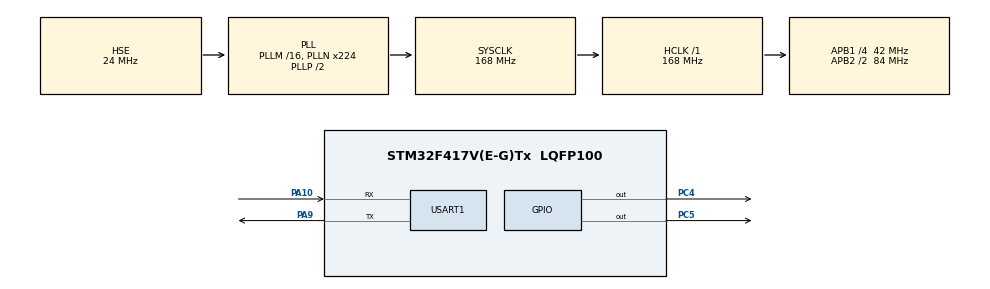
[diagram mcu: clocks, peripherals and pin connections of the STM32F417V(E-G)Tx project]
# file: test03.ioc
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Mcu.Family=STM32F4
Mcu.Name=STM32F417V(E-G)Tx
Mcu.Package=LQFP100
NVIC.PriorityGroup=NVIC_PRIORITYGROUP_2
NVIC.USART1_IRQn=true\:3\:3\:true\:false\:true\:true\:true\:true
PA10.GPIO_ModeDefaultPP=GPIO_MODE_AF_PP
PA10.GPIO_PuPd=GPIO_PULLUP
PA10.GPIO_Speed=GPIO_SPEED_FREQ_HIGH
PA10.Mode=Asynchronous
PA10.Signal=USART1_RX
PA13.Mode=Trace_Synchro_2bits_SW
PA13.Signal=SYS_JTMS-SWDIO
PA14.Mode=Trace_Synchro_2bits_SW
PA14.Signal=SYS_JTCK-SWCLK
PA9.GPIO_ModeDefaultPP=GPIO_MODE_AF_PP
PA9.GPIO_PuPd=GPIO_PULLUP
PA9.GPIO_Speed=GPIO_SPEED_FREQ_HIGH
PA9.Mode=Asynchronous
PA9.Signal=USART1_TX
PC14-OSC32_IN.Mode=LSE-External-Oscillator
PC14-OSC32_IN.Signal=RCC_OSC32_IN
PC15-OSC32_OUT.Mode=LSE-External-Oscillator
PC15-OSC32_OUT.Signal=RCC_OSC32_OUT
PC4.GPIO_ModeDefaultOutputPP=GPIO_MODE_OUTPUT_PP
PC4.GPIO_PuPd=GPIO_PULLUP
PC4.GPIO_Speed=GPIO_SPEED_FREQ_HIGH
PC4.PinState=GPIO_PIN_SET
PC4.Signal=GPIO_Output
PC5.GPIO_ModeDefaultOutputPP=GPIO_MODE_OUTPUT_PP
PC5.GPIO_PuPd=GPIO_PULLUP
PC5.GPIO_Speed=GPIO_SPEED_FREQ_HIGH
PC5.PinState=GPIO_PIN_SET
PC5.Signal=GPIO_Output
PE2.Mode=Trace_Synchro_2bits_SW
PE2.Signal=SYS_TRACECLK
PE3.Mode=Trace_Synchro_2bits_SW
PE3.Signal=SYS_TRACED0
PE4.Mode=Trace_Synchro_2bits_SW
PE4.Signal=SYS_TRACED1
PH0-OSC_IN.Mode=HSE-External-Oscillator
PH0-OSC_IN.Signal=RCC_OSC_IN
PH1-OSC_OUT.Mode=HSE-External-Oscillator
PH1-OSC_OUT.Signal=RCC_OSC_OUT
ProjectManager.HeapSize=0x200
ProjectManager.StackSize=0x400
ProjectManager.TargetToolchain=STM32CubeIDE
RCC.48MHZClocksFreq_Value=84000000
RCC.AHBFreq_Value=168000000
RCC.APB1CLKDivider=RCC_HCLK_DIV4
RCC.APB1Freq_Value=42000000
RCC.APB1TimFreq_Value=84000000
RCC.APB2CLKDivider=RCC_HCLK_DIV2
RCC.APB2Freq_Value=84000000
RCC.APB2TimFreq_Value=168000000
RCC.CortexFreq_Value=168000000
RCC.HCLKFreq_Value=168000000
RCC.HSE_VALUE=24000000
RCC.HSI_VALUE=16000000
RCC.PLLN=224
RCC.PLLSourceVirtual=RCC_PLLSOURCE_HSE
RCC.SYSCLKFreq_VALUE=168000000
RCC.SYSCLKSource=RCC_SYSCLKSOURCE_PLLCLK
RCC.VCOOutputFreq_Value=336000000
USART1.VirtualMode=VM_ASYNC
board=custom

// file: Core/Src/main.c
/* USER CODE BEGIN Header */
/**
  ******************************************************************************
  * @file           : main.c
  * @brief          : Main program body
  ******************************************************************************
  * @attention
  *
  * Copyright (c) 2022 STMicroelectronics.
  * All rights reserved.
  *
  * This software is licensed under terms that can be found in the LICENSE file
  * in the root directory of this software component.
  * If no LICENSE file comes with this software, it is provided AS-IS.
  *
  ******************************************************************************
  */
/* USER CODE END Header */
#include "main.h"

/* USER CODE BEGIN Includes */
#include "stdio.h"	//引入标准库文件
/* USER CODE END Includes */

UART_HandleTypeDef huart1;

void SystemClock_Config(void);
static void MX_GPIO_Init(void);
static void MX_USART1_UART_Init(void);
/* USER CODE BEGIN PFP */
//#ifdef __GNUC__									//串口重定向
//#define PUTCHAR_PROTOTYPE int __io_putchar(int ch)
//#else
//#define PUTCHAR_PROTOTYPE int fputc(int ch, FILE *f)
//#endif
//PUTCHAR_PROTOTYPE
//{
//    HAL_UART_Transmit(&huart1 , (uint8_t *)&ch, 1, 0xFFFF);
//    return ch;
//}

#ifdef __GNUC__
#define PUTCHAR_PROTOTYPE int __io_putchar(int ch)   //STM32CubeIDE
#else

#define PUTCHAR_PROTOTYPE int fputc(int ch, FILE *f)  //Keil

#endif
PUTCHAR_PROTOTYPE
{
	HAL_UART_Transmit(&huart1, (uint8_t*)&ch, 1, HAL_MAX_DELAY);
	return ch;
}

int _write(int file, char *ptr, int len)
{
	int DataIdx;

	for(DataIdx=0; DataIdx<len; DataIdx++)
	{
		__io_putchar(*ptr++);
	}

	return len;
}
/* USER CODE END PFP */

int main(void)
{

  /* MCU Configuration--------------------------------------------------------*/

  /* Reset of all peripherals, Initializes the Flash interface and the Systick. */
  HAL_Init();

  /* Configure the system clock */
  SystemClock_Config();

  /* Initialize all configured peripherals */
  MX_GPIO_Init();
  MX_USART1_UART_Init();

  /* Infinite loop */
  /* USER CODE BEGIN WHILE */
  while (1)
  {
	 HAL_GPIO_WritePin(GPIOC,GPIO_PIN_4,GPIO_PIN_SET);
	 HAL_GPIO_WritePin(GPIOC,GPIO_PIN_5,GPIO_PIN_RESET);
	 HAL_Delay(500);
	 HAL_GPIO_WritePin(GPIOC,GPIO_PIN_4,GPIO_PIN_RESET);
	 HAL_GPIO_WritePin(GPIOC,GPIO_PIN_5,GPIO_PIN_SET);
	 HAL_Delay(500);
	 printf("你好!\r\n");
	 HAL_Delay(1000);
    /* USER CODE END WHILE */

  }
}

void SystemClock_Config(void)
{
  RCC_OscInitTypeDef RCC_OscInitStruct = {0};
  RCC_ClkInitTypeDef RCC_ClkInitStruct = {0};

  /** Configure the main internal regulator output voltage
  */
  __HAL_RCC_PWR_CLK_ENABLE();
  __HAL_PWR_VOLTAGESCALING_CONFIG(PWR_REGULATOR_VOLTAGE_SCALE1);

  /** Initializes the RCC Oscillators according to the specified parameters
  * in the RCC_OscInitTypeDef structure.
  */
  RCC_OscInitStruct.OscillatorType = RCC_OSCILLATORTYPE_HSE;
  RCC_OscInitStruct.HSEState = RCC_HSE_ON;
  RCC_OscInitStruct.PLL.PLLState = RCC_PLL_ON;
  RCC_OscInitStruct.PLL.PLLSource = RCC_PLLSOURCE_HSE;
  RCC_OscInitStruct.PLL.PLLM = 16;
  RCC_OscInitStruct.PLL.PLLN = 224;
  RCC_OscInitStruct.PLL.PLLP = RCC_PLLP_DIV2;
  RCC_OscInitStruct.PLL.PLLQ = 4;
  if (HAL_RCC_OscConfig(&RCC_OscInitStruct) != HAL_OK)
  {
    Error_Handler();
  }

  /** Initializes the CPU, AHB and APB buses clocks
  */
  RCC_ClkInitStruct.ClockType = RCC_CLOCKTYPE_HCLK|RCC_CLOCKTYPE_SYSCLK
                              |RCC_CLOCKTYPE_PCLK1|RCC_CLOCKTYPE_PCLK2;
  RCC_ClkInitStruct.SYSCLKSource = RCC_SYSCLKSOURCE_PLLCLK;
  RCC_ClkInitStruct.AHBCLKDivider = RCC_SYSCLK_DIV1;
  RCC_ClkInitStruct.APB1CLKDivider = RCC_HCLK_DIV4;
  RCC_ClkInitStruct.APB2CLKDivider = RCC_HCLK_DIV2;

  if (HAL_RCC_ClockConfig(&RCC_ClkInitStruct, FLASH_LATENCY_5) != HAL_OK)
  {
    Error_Handler();
  }
}

static void MX_USART1_UART_Init(void)
{

  huart1.Instance = USART1;
  huart1.Init.BaudRate = 115200;
  huart1.Init.WordLength = UART_WORDLENGTH_8B;
  huart1.Init.StopBits = UART_STOPBITS_1;
  huart1.Init.Parity = UART_PARITY_NONE;
  huart1.Init.Mode = UART_MODE_TX_RX;
  huart1.Init.HwFlowCtl = UART_HWCONTROL_NONE;
  huart1.Init.OverSampling = UART_OVERSAMPLING_16;
  if (HAL_UART_Init(&huart1) != HAL_OK)
  {
    Error_Handler();
  }

}

static void MX_GPIO_Init(void)
{
  GPIO_InitTypeDef GPIO_InitStruct = {0};

  /* GPIO Ports Clock Enable */
  __HAL_RCC_GPIOE_CLK_ENABLE();
  __HAL_RCC_GPIOC_CLK_ENABLE();
  __HAL_RCC_GPIOH_CLK_ENABLE();
  __HAL_RCC_GPIOA_CLK_ENABLE();

  /*Configure GPIO pin Output Level */
  HAL_GPIO_WritePin(GPIOC, GPIO_PIN_4|GPIO_PIN_5, GPIO_PIN_SET);

  /*Configure GPIO pins : PC4 PC5 */
  GPIO_InitStruct.Pin = GPIO_PIN_4|GPIO_PIN_5;
  GPIO_InitStruct.Mode = GPIO_MODE_OUTPUT_PP;
  GPIO_InitStruct.Pull = GPIO_PULLUP;
  GPIO_InitStruct.Speed = GPIO_SPEED_FREQ_HIGH;
  HAL_GPIO_Init(GPIOC, &GPIO_InitStruct);

}

void Error_Handler(void)
{
  __disable_irq();
  while (1)
  {
  }
}
